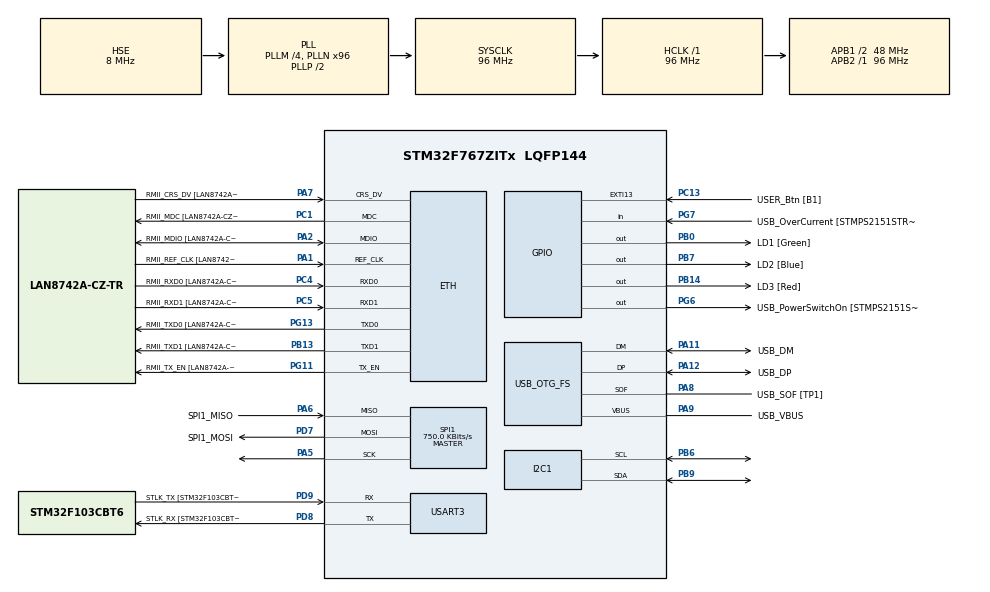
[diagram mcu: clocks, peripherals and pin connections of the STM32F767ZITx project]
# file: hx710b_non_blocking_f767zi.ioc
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Dma.Request0=SPI1_RX
Dma.Request1=SPI1_TX
Dma.SPI1_RX.0.Direction=DMA_PERIPH_TO_MEMORY
Dma.SPI1_RX.0.FIFOMode=DMA_FIFOMODE_DISABLE
Dma.SPI1_RX.0.Instance=DMA2_Stream0
Dma.SPI1_RX.0.MemDataAlignment=DMA_MDATAALIGN_BYTE
Dma.SPI1_RX.0.MemInc=DMA_MINC_ENABLE
Dma.SPI1_RX.0.Mode=DMA_NORMAL
Dma.SPI1_RX.0.PeriphDataAlignment=DMA_PDATAALIGN_BYTE
Dma.SPI1_RX.0.PeriphInc=DMA_PINC_DISABLE
Dma.SPI1_RX.0.Priority=DMA_PRIORITY_LOW
Dma.SPI1_TX.1.Direction=DMA_MEMORY_TO_PERIPH
Dma.SPI1_TX.1.FIFOMode=DMA_FIFOMODE_DISABLE
Dma.SPI1_TX.1.Instance=DMA2_Stream3
Dma.SPI1_TX.1.MemDataAlignment=DMA_MDATAALIGN_BYTE
Dma.SPI1_TX.1.MemInc=DMA_MINC_ENABLE
Dma.SPI1_TX.1.Mode=DMA_NORMAL
Dma.SPI1_TX.1.PeriphDataAlignment=DMA_PDATAALIGN_BYTE
Dma.SPI1_TX.1.PeriphInc=DMA_PINC_DISABLE
Dma.SPI1_TX.1.Priority=DMA_PRIORITY_LOW
ETH.MediaInterface=HAL_ETH_RMII_MODE
ETH.PHY_Name=LAN8742A_PHY_ADDRESS
ETH.PHY_Value=0
ETH.PhyAddress=0
I2C1.I2C_Coeff_DF=0
I2C1.I2C_Fall_Time=10
I2C1.I2C_Rise_Time=10
I2C1.Speed=100
I2C1.Timing=0x00C0D5FF
Mcu.Family=STM32F7
Mcu.Name=STM32F767ZITx
Mcu.Package=LQFP144
NVIC.DMA2_Stream0_IRQn=true\:0\:0\:false\:false\:true\:false\:true\:true
NVIC.DMA2_Stream3_IRQn=true\:0\:0\:false\:false\:true\:false\:true\:true
NVIC.PriorityGroup=NVIC_PRIORITYGROUP_4
PA1.GPIO_Label=RMII_REF_CLK [LAN8742A-CZ-TR_REFCLK0]
PA1.Mode=RMII
PA1.Signal=ETH_REF_CLK
PA10.GPIO_Label=USB_ID
PA10.Signal=USB_OTG_FS_ID
PA11.GPIO_Label=USB_DM
PA11.Mode=Device_Only
PA11.Signal=USB_OTG_FS_DM
PA12.GPIO_Label=USB_DP
PA12.Mode=Device_Only
PA12.Signal=USB_OTG_FS_DP
PA13.GPIO_Label=TMS
PA13.Mode=Serial_Wire
PA13.Signal=SYS_JTMS-SWDIO
PA14.GPIO_Label=TCK
PA14.Mode=Serial_Wire
PA14.Signal=SYS_JTCK-SWCLK
PA2.GPIO_Label=RMII_MDIO [LAN8742A-CZ-TR_MDIO]
PA2.Mode=RMII
PA2.Signal=ETH_MDIO
PA5.Mode=Full_Duplex_Master
PA5.Signal=SPI1_SCK
PA6.GPIO_Label=SPI1_MISO
PA6.Mode=Full_Duplex_Master
PA6.Signal=SPI1_MISO
PA7.GPIO_Label=RMII_CRS_DV [LAN8742A-CZ-TR_CRS_DV]
PA7.Mode=RMII
PA7.Signal=ETH_CRS_DV
PA8.GPIO_Label=USB_SOF [TP1]
PA8.Mode=Activate_SOF_FS
PA8.Signal=USB_OTG_FS_SOF
PA9.GPIO_Label=USB_VBUS
PA9.Mode=Activate_VBUS
PA9.Signal=USB_OTG_FS_VBUS
PB0.GPIO_Label=LD1 [Green]
PB0.Signal=GPIO_Output
PB13.GPIO_Label=RMII_TXD1 [LAN8742A-CZ-TR_TXD1]
PB13.Mode=RMII
PB13.Signal=ETH_TXD1
PB14.GPIO_Label=LD3 [Red]
PB14.Signal=GPIO_Output
PB3.GPIO_Label=SWO
PB3.Signal=SYS_JTDO-SWO
PB6.Mode=I2C
PB6.Signal=I2C1_SCL
PB7.GPIO_Label=LD2 [Blue]
PB7.Signal=GPIO_Output
PB9.Mode=I2C
PB9.Signal=I2C1_SDA
PC1.GPIO_Label=RMII_MDC [LAN8742A-CZ-TR_MDC]
PC1.Mode=RMII
PC1.Signal=ETH_MDC
PC13.GPIO_Label=USER_Btn [B1]
PC13.Signal=GPXTI13
PC14/OSC32_IN.Mode=LSE-External-Oscillator
PC14/OSC32_IN.Signal=RCC_OSC32_IN
PC15/OSC32_OUT.Mode=LSE-External-Oscillator
PC15/OSC32_OUT.Signal=RCC_OSC32_OUT
PC4.GPIO_Label=RMII_RXD0 [LAN8742A-CZ-TR_RXD0]
PC4.Mode=RMII
PC4.Signal=ETH_RXD0
PC5.GPIO_Label=RMII_RXD1 [LAN8742A-CZ-TR_RXD1]
PC5.Mode=RMII
PC5.Signal=ETH_RXD1
PD7.GPIO_Label=SPI1_MOSI
PD7.Mode=Full_Duplex_Master
PD7.Signal=SPI1_MOSI
PD8.GPIO_Label=STLK_RX [STM32F103CBT6_PA3]
PD8.Mode=Asynchronous
PD8.Signal=USART3_TX
PD9.GPIO_Label=STLK_TX [STM32F103CBT6_PA2]
PD9.Mode=Asynchronous
PD9.Signal=USART3_RX
PG11.GPIO_Label=RMII_TX_EN [LAN8742A-CZ-TR_TXEN]
PG11.Mode=RMII
PG11.Signal=ETH_TX_EN
PG13.GPIO_Label=RMII_TXD0 [LAN8742A-CZ-TR_TXD0]
PG13.Mode=RMII
PG13.Signal=ETH_TXD0
PG6.GPIO_Label=USB_PowerSwitchOn [STMPS2151STR_EN]
PG6.Signal=GPIO_Output
PG7.GPIO_Label=USB_OverCurrent [STMPS2151STR_FAULT]
PG7.Signal=GPIO_Input
PH0/OSC_IN.GPIO_Label=MCO [STM32F103CBT6_PA8]
PH0/OSC_IN.Mode=HSE-External-Clock-Source
PH0/OSC_IN.Signal=RCC_OSC_IN
PH1/OSC_OUT.Mode=HSE-External-Clock-Source
PH1/OSC_OUT.Signal=RCC_OSC_OUT
ProjectManager.HeapSize=0x200
ProjectManager.StackSize=0x400
ProjectManager.TargetToolchain=STM32CubeIDE
RCC.48MHZClocksFreq_Value=24000000
RCC.AHBFreq_Value=96000000
RCC.APB1CLKDivider=RCC_HCLK_DIV2
RCC.APB1Freq_Value=48000000
RCC.APB1TimFreq_Value=96000000
RCC.APB2Freq_Value=96000000
RCC.APB2TimFreq_Value=96000000
RCC.CortexFreq_Value=96000000
RCC.HCLKFreq_Value=96000000
RCC.HSE_VALUE=8000000
RCC.HSI_VALUE=16000000
RCC.PLLM=4
RCC.PLLMUL=RCC_PLL_MUL9
RCC.PLLN=96
RCC.PLLQ=4
RCC.PRESCALERUSB=RCC_USBCLKSOURCE_PLL_DIV1_5
RCC.SYSCLKFreq_VALUE=96000000
RCC.SYSCLKSource=RCC_SYSCLKSOURCE_PLLCLK
RCC.SYSCLKSourceVirtual=RCC_SYSCLKSOURCE_PLLCLK
RCC.USBFreq_Value=48000000
RCC.VCOOutputFreq_Value=192000000
SPI1.BaudRatePrescaler=SPI_BAUDRATEPRESCALER_128
SPI1.CalculateBaudRate=750.0 KBits/s
SPI1.DataSize=SPI_DATASIZE_8BIT
SPI1.Direction=SPI_DIRECTION_2LINES
SPI1.Mode=SPI_MODE_MASTER
SPI1.VirtualType=VM_MASTER
TIM3.Prescaler=96-1
USART3.VirtualMode-Asynchronous=VM_ASYNC
USB_OTG_FS.VirtualMode=Device_Only
VP_TIM3_VS_ClockSourceINT.Mode=Internal
board=NUCLEO-F767ZI

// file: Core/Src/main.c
/* USER CODE BEGIN Header */
/**
 ******************************************************************************
 * @file           : main.c
 * @brief          : Main program body
 ******************************************************************************
 * @attention
 *
 * Copyright (c) 2023 STMicroelectronics.
 * All rights reserved.
 *
 * This software is licensed under terms that can be found in the LICENSE file
 * in the root directory of this software component.
 * If no LICENSE file comes with this software, it is provided AS-IS.
 *
 ******************************************************************************
 */
/* USER CODE END Header */
#include "main.h"
#include "dma.h"
#include "eth.h"
#include "i2c.h"
#include "spi.h"
#include "tim.h"
#include "usart.h"
#include "usb_otg.h"
#include "gpio.h"

/* USER CODE BEGIN Includes */
#include <stdio.h>
#include <stdlib.h>

#include "lcd_i2c.h"
#include "hx710b.h"
/* USER CODE END Includes */

/* USER CODE BEGIN PD */
#define OLED_UPDATE_PERIOD 1000

/* USER CODE END PD */

/* USER CODE BEGIN PV */

extern uint8_t RxData[8];
float measured_preassure_raw;
extern uint8_t sensor_read_flag;

float pressure_hx710b_cmh2o;

uint8_t UartMessage[256];
uint16_t MessageLength;

char lcd_line[32];
uint32_t SoftTimerLCD;
uint8_t toggle_display;

struct lcd_disp disp;
/* USER CODE END PV */

void SystemClock_Config(void);

int main(void)
{

  /* MCU Configuration--------------------------------------------------------*/

  /* Reset of all peripherals, Initializes the Flash interface and the Systick. */
  HAL_Init();

  /* Configure the system clock */
  SystemClock_Config();

  /* Initialize all configured peripherals */
  MX_GPIO_Init();
  MX_DMA_Init();
  MX_USART3_UART_Init();
  MX_USB_OTG_FS_PCD_Init();
  MX_SPI1_Init();
  MX_ETH_Init();
  MX_I2C1_Init();
  MX_TIM3_Init();
  /* USER CODE BEGIN 2 */

	disp.addr = (0x27 << 1);
	disp.bl = true;
	lcd_init(&disp);
	lcd_prog(&disp);

	SoftTimerLCD = HAL_GetTick();

	Hx710b_Read_Raw_DMA();
  /* USER CODE END 2 */

  /* Infinite loop */
  /* USER CODE BEGIN WHILE */
	while (1)
	{

		if (((HAL_GetTick() - SoftTimerLCD) > OLED_UPDATE_PERIOD)
				&& (sensor_read_flag == 1))
		{
			SoftTimerLCD = HAL_GetTick();

			MessageLength =
					sprintf((char*) UartMessage,
							"HX710B raw reading: 0b %c%c%c%c%c%c%c%c %c%c%c%c%c%c%c%c %c%c%c%c%c%c%c%c %c%c%c%c%c%c%c%c %c%c%c%c%c%c%c%c %c%c%c%c%c%c%c%c %c%c%c%c%c%c%c%c %c%c%c%c%c%c%c%c \r\n",
							BYTE_TO_BINARY(RxData[0]),
							BYTE_TO_BINARY(RxData[1]),
							BYTE_TO_BINARY(RxData[2]),
							BYTE_TO_BINARY(RxData[3]),
							BYTE_TO_BINARY(RxData[4]),
							BYTE_TO_BINARY(RxData[5]),
							BYTE_TO_BINARY(RxData[6]), BYTE_TO_BINARY(RxData[7])
							);

			HAL_UART_Transmit(&huart3, UartMessage, MessageLength, 100);
			measured_preassure_raw = ConvertRawReadingToSignedFloat(
					ConvertSPItoRawReading((uint8_t*) (&RxData)));
			pressure_hx710b_cmh2o = mapFloatToCmH2O(measured_preassure_raw);

			MessageLength = sprintf((char*) UartMessage,
					"%.2f from sensor \r\n", measured_preassure_raw);
			HAL_UART_Transmit(&huart3, UartMessage, MessageLength, 100);

			if (0 == toggle_display)
			{
				sprintf((char*) disp.f_line, "HX710B (via DMA)");
				sprintf((char*) disp.s_line, "  %.1f cmH2O",
						pressure_hx710b_cmh2o);
				lcd_display(&disp);
				toggle_display = 1;
			}
			else
			{
				sprintf((char*) disp.f_line, "HX710B (via DMA)");
				sprintf((char*) disp.s_line, "   %.2f kPa",
						convertcmH2OtokPa(pressure_hx710b_cmh2o));
				lcd_display(&disp);
				toggle_display = 0;
			}

		}

		if ((sensor_read_flag == 1)
				&& (HAL_GPIO_ReadPin(SPI1_MISO_GPIO_Port, SPI1_MISO_Pin)
						== GPIO_PIN_RESET))
		{
			sensor_read_flag = 0;
			Hx710b_Read_Raw_DMA();
		}
    /* USER CODE END WHILE */

	}
}

void SystemClock_Config(void)
{
  RCC_OscInitTypeDef RCC_OscInitStruct = {0};
  RCC_ClkInitTypeDef RCC_ClkInitStruct = {0};

  /** Configure LSE Drive Capability
  */
  HAL_PWR_EnableBkUpAccess();

  /** Configure the main internal regulator output voltage
  */
  __HAL_RCC_PWR_CLK_ENABLE();
  __HAL_PWR_VOLTAGESCALING_CONFIG(PWR_REGULATOR_VOLTAGE_SCALE3);

  /** Initializes the RCC Oscillators according to the specified parameters
  * in the RCC_OscInitTypeDef structure.
  */
  RCC_OscInitStruct.OscillatorType = RCC_OSCILLATORTYPE_HSE;
  RCC_OscInitStruct.HSEState = RCC_HSE_BYPASS;
  RCC_OscInitStruct.PLL.PLLState = RCC_PLL_ON;
  RCC_OscInitStruct.PLL.PLLSource = RCC_PLLSOURCE_HSE;
  RCC_OscInitStruct.PLL.PLLM = 4;
  RCC_OscInitStruct.PLL.PLLN = 96;
  RCC_OscInitStruct.PLL.PLLP = RCC_PLLP_DIV2;
  RCC_OscInitStruct.PLL.PLLQ = 4;
  RCC_OscInitStruct.PLL.PLLR = 2;
  if (HAL_RCC_OscConfig(&RCC_OscInitStruct) != HAL_OK)
  {
    Error_Handler();
  }

  /** Activate the Over-Drive mode
  */
  if (HAL_PWREx_EnableOverDrive() != HAL_OK)
  {
    Error_Handler();
  }

  /** Initializes the CPU, AHB and APB buses clocks
  */
  RCC_ClkInitStruct.ClockType = RCC_CLOCKTYPE_HCLK|RCC_CLOCKTYPE_SYSCLK
                              |RCC_CLOCKTYPE_PCLK1|RCC_CLOCKTYPE_PCLK2;
  RCC_ClkInitStruct.SYSCLKSource = RCC_SYSCLKSOURCE_PLLCLK;
  RCC_ClkInitStruct.AHBCLKDivider = RCC_SYSCLK_DIV1;
  RCC_ClkInitStruct.APB1CLKDivider = RCC_HCLK_DIV2;
  RCC_ClkInitStruct.APB2CLKDivider = RCC_HCLK_DIV1;

  if (HAL_RCC_ClockConfig(&RCC_ClkInitStruct, FLASH_LATENCY_3) != HAL_OK)
  {
    Error_Handler();
  }
}

void Error_Handler(void)
{
	__disable_irq();
	while (1)
	{
	}
}
